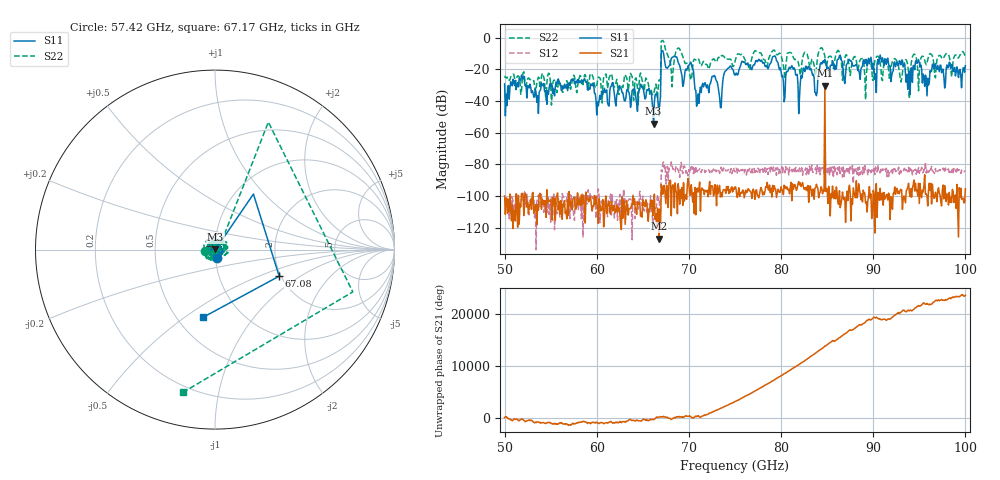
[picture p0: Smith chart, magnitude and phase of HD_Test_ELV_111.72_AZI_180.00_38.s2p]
! 11/25/2026 9:24:02 AM
! C:\ANRITSUVNA\TEMP\TEMP.S2P
! CHANNEL.1
! TR.MEASUREMENT
! RAW.DATA
# HZ S RI R 50.0
! FREQ.HZ  S11RE  S11IM  S21RE  S21IM  S12RE  S12IM  S22RE  S22IM
!; PortSelection: Port_12
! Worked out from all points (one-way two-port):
!   601 points, 50 GHz to 100 GHz, reference 50 ohm
!   highest |S21| = -30.32 dB at 84.75 GHz (marker M1); lowest = -127.0 dB at 66.75 GHz (marker M2)
!   lowest |S11| = -54.4 dB at 66.17 GHz (marker M3), VSWR 1.00, Z = 50.1 + j0.15 ohm
!   |S11| at or under -10 dB: start of sweep to 67 GHz; 67.24 GHz to end of sweep
!   |S22| runs from -42.6 to -1.8 dB; largest |S21 - S12| = 0.031
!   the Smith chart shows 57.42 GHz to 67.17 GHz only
!   S11 on the Smith chart (normalised r, x): 57.42 GHz: 1.02, -0.10; 67.08 GHz: 1.96, -0.68; 67.17 GHz: 0.67, -0.59
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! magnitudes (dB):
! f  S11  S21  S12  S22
! 50 GHz  -29.2  -100.1  -111.2  -25.4
! 57.42 GHz  -26.3  -101.6  -106.6  -25.2
! 58.42 GHz  -27.2  -105.4  -98.8  -29.0
! 60.17 GHz  -43.2  -117.3  -95.7  -24.8
! 61.67 GHz  -28.7  -107.2  -99.3  -24.5
! 66.17 GHz  -54.4  -107.7  -104.1  -35.4
! 66.67 GHz  -41.9  -108.8  -102.7  -32.1
! 66.75 GHz  -49.6  -127.0  -101.2  -26.8
! 67.08 GHz  -8.2  -94.5  -84.8  -1.9
! 67.17 GHz  -8.3  -99.0  -79.3  -1.8
! 70.17 GHz  -15.4  -99.6  -83.7  -25.7
! 70.92 GHz  -40.6  -95.1  -84.2  -13.3
! 75 GHz  -23.7  -94.2  -84.9  -15.0
! 79.25 GHz  -11.8  -93.6  -84.0  -7.9
! 80.25 GHz  -27.5  -99.2  -82.4  -17.6
! 83.42 GHz  -23.8  -95.9  -85.2  -13.7
! 84.75 GHz  -13.9  -30.3  -55.3  -11.8
! 91.67 GHz  -16.7  -98.2  -87.7  -20.4
! 93.75 GHz  -32.7  -94.5  -84.8  -17.3
! 94.83 GHz  -15.0  -100.1  -85.0  -20.3
! 95.83 GHz  -36.8  -100.0  -83.0  -15.9
! 100 GHz  -17.7  -95.4  -83.9  -12.2
